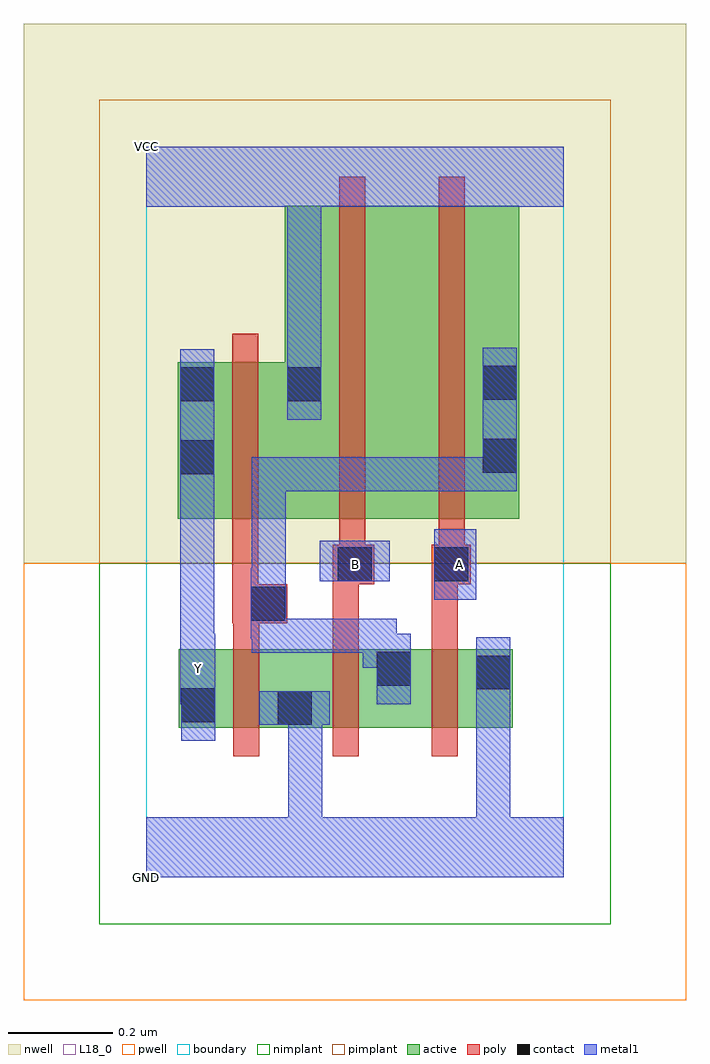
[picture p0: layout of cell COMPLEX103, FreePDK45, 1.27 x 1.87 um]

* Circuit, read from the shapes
.subckt COMPLEX103 A B GND VCC Y
M1 GND n1 Y VSUBS nfet w=0.15u l=0.05u
M2 n1 B GND VSUBS nfet w=0.15u l=0.05u
M3 GND A n1 VSUBS nfet w=0.15u l=0.05u
M4 VCC n1 Y n2 pfet w=0.3u l=0.05u
M5 n3 B VCC n2 pfet w=0.6u l=0.05u
M6 n1 A n3 n2 pfet w=0.6u l=0.05u
.ends

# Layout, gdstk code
import gdstk
lib = gdstk.Library(unit=1e-6, precision=1e-09)
def R(c, l, rs):  # rectangles x0, y0, x1, y1
    for r in rs: c.add(gdstk.rectangle(r[:2], r[2:], *l))
def A(c, l, x, y, w, h, nx, ny, dx, dy):  # array of equal rectangles
    R(c, l, [(x+i*dx, y+j*dy, x+i*dx+w, y+j*dy+h) for i in range(nx) for j in range(ny)])
active = (1, 0)
pwell = (2, 0)
nwell = (3, 0)
nimplant = (4, 0)
pimplant = (5, 0)
poly = (9, 0)
contact = (10, 0)
metal1 = (11, 0)
L18_0 = (18, 0)
boundary = (235, 0)

complex103 = lib.new_cell('COMPLEX103')
R(complex103, active, [(0.062,0.287,0.137,0.437), (0.062,0.287,0.322,0.437), (0.247,0.287,0.512,0.437), (0.247,0.287,0.322,0.397), (0.437,0.287,0.512,0.437), (0.437,0.287,0.702,0.437), (0.627,0.287,0.702,0.437), (0.06,0.687,0.135,0.982), (0.06,0.687,0.34,0.987), (0.265,0.687,0.49,1.287), (0.265,0.687,0.34,0.982), (0.49,0.687,0.715,1.287), (0.64,0.687,0.715,1.2)])
R(complex103, pwell, [(-0.235,-0.235,1.035,0.602)])
R(complex103, nwell, [(-0.235,0.602,1.035,1.635)])
R(complex103, nimplant, [(-0.09,-0.09,0.89,0.602)])
R(complex103, pimplant, [(-0.09,0.602,0.89,1.49)])
A(complex103, poly, 0.167, 0.232, 0.05, 0.26, 3, 1, 0.19, 0)
R(complex103, poly, [(0.167,0.442,0.217,0.537), (0.357,0.442,0.407,0.612), (0.547,0.442,0.597,0.612), (0.165,0.487,0.27,0.562), (0.165,0.512,0.215,0.682), (0.357,0.562,0.437,0.637), (0.547,0.562,0.622,0.637), (0.37,0.587,0.42,0.682), (0.56,0.587,0.61,0.682), (0.165,0.632,0.215,1.042), (0.37,0.632,0.42,1.342), (0.56,0.632,0.61,1.342)])
R(complex103, contact, [(0.252,0.292,0.317,0.357), (0.067,0.297,0.132,0.362), (0.632,0.36,0.697,0.425), (0.442,0.367,0.507,0.432), (0.2,0.492,0.265,0.557), (0.367,0.567,0.432,0.632), (0.552,0.567,0.617,0.632), (0.065,0.772,0.13,0.837), (0.645,0.775,0.71,0.84), (0.065,0.912,0.13,0.977), (0.27,0.912,0.335,0.977), (0.645,0.915,0.71,0.98)])
R(complex103, metal1, [(0,0,0.8,0.115), (0.272,0.05,0.337,0.357), (0.632,0.05,0.697,0.115), (0.632,0.05,0.697,0.115), (0.632,0.05,0.697,0.115), (0.632,0.05,0.697,0.115), (0.632,0.05,0.697,0.39), (0.067,0.262,0.132,0.397), (0.217,0.292,0.352,0.357), (0.272,0.292,0.337,0.357), (0.272,0.292,0.337,0.357), (0.272,0.292,0.337,0.357), (0.272,0.292,0.337,0.357), (0.632,0.325,0.697,0.46), (0.065,0.332,0.132,0.467), (0.067,0.332,0.132,0.397), (0.442,0.332,0.507,0.467), (0.065,0.402,0.13,0.802), (0.415,0.402,0.507,0.467), (0.415,0.402,0.48,0.495), (0.202,0.43,0.267,0.495), (0.202,0.43,0.48,0.495), (0.202,0.43,0.267,0.522), (0.2,0.457,0.265,0.522), (0.2,0.457,0.265,0.592), (0.2,0.457,0.267,0.522), (0.202,0.457,0.267,0.805), (0.552,0.532,0.632,0.667), (0.332,0.567,0.467,0.645), (0.065,0.737,0.13,1.012), (0.202,0.74,0.267,0.805), (0.202,0.74,0.48,0.805), (0.415,0.74,0.48,0.805), (0.415,0.74,0.48,0.805), (0.415,0.74,0.48,0.805), (0.415,0.74,0.71,0.805), (0.645,0.74,0.71,0.805), (0.645,0.74,0.71,0.805), (0.645,0.74,0.71,1.015), (0.27,0.877,0.335,1.012), (0.27,0.947,0.335,1.35), (0,1.285,0.8,1.4)])
R(complex103, L18_0, [(0,0,0.8,0.115), (0.272,0.05,0.337,0.357), (0.632,0.05,0.697,0.115), (0.632,0.05,0.697,0.115), (0.632,0.05,0.697,0.115), (0.632,0.05,0.697,0.115), (0.632,0.05,0.697,0.39), (0.067,0.262,0.132,0.397), (0.217,0.292,0.352,0.357), (0.272,0.292,0.337,0.357), (0.272,0.292,0.337,0.357), (0.272,0.292,0.337,0.357), (0.272,0.292,0.337,0.357), (0.632,0.325,0.697,0.46), (0.065,0.332,0.132,0.467), (0.067,0.332,0.132,0.397), (0.067,0.367,0.132,0.432), (0.065,0.402,0.13,0.802), (0.552,0.532,0.632,0.667), (0.332,0.567,0.467,0.645), (0.367,0.567,0.432,0.632), (0.567,0.567,0.632,0.632), (0.065,0.737,0.13,1.012), (0.27,0.877,0.335,1.012), (0.27,0.947,0.335,1.35), (0,1.285,0.8,1.4)])
R(complex103, boundary, [(0,0,0.8,1.4)])
complex103.add(gdstk.Label('A', (0.6,0.6), layer=11, texttype=0))
complex103.add(gdstk.Label('B', (0.4,0.6), layer=11, texttype=0))
complex103.add(gdstk.Label('Y', (0.1,0.4), layer=11, texttype=0))
complex103.add(gdstk.Label('VCC', (0,1.4), layer=11, texttype=0))
complex103.add(gdstk.Label('GND', (0,0), layer=11, texttype=0))

lib.write_gds('COMPLEX103.gds')
